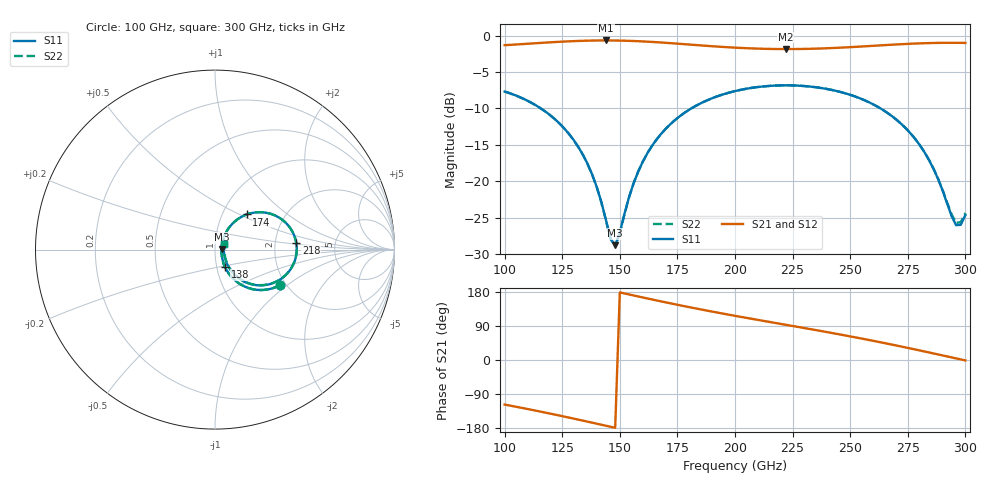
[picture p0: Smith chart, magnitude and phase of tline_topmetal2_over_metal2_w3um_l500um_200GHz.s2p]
#  GHZ S DB R 50
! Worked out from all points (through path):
!   101 points, 100 GHz to 300 GHz, reference 50 ohm
!   highest |S21| = -0.67 dB at 144 GHz (marker M1); lowest = -1.9 dB at 222 GHz (marker M2)
!   group delay of S21, straight-line fit = 3.32 ps
!   lowest |S11| = -28.8 dB at 148 GHz (marker M3), VSWR 1.08, Z = 53.8 + j0.267 ohm
!   |S11| at or under -10 dB: 115.7 GHz to 181 GHz (65.31 GHz wide, 44 % of centre); 263.1 GHz to end of sweep
!   |S22| runs from -28.9 to -6.8 dB; largest |S21 - S12| = 1.5e-13
!   S11 on the Smith chart (normalised r, x): 100 GHz: 1.86, -0.89; 138 GHz: 1.10, -0.21; 174 GHz: 1.30, +0.55; 218 GHz: 2.64, +0.25; 300 GHz: 1.10, +0.07
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100  -7.68 -28.6  -1.32 -117.6  -1.32 -117.6  -7.68 -28.6
120  -10.98 -49.1  -0.92 -141.8  -0.92 -141.8  -10.99 -49.2
134  -16.36 -60.1  -0.71 -160.0  -0.71 -160.0  -16.38 -60.2
138  -19.06 -60.0  -0.68 -165.4  -0.68 -165.4  -19.08 -60.2
144  -25.33 -44.8  -0.67 -173.5  -0.67 -173.5  -25.39 -45.1
146  -27.84 -26.1  -0.67 -176.2  -0.67 -176.2  -27.95 -26.3
148  -28.79 3.9  -0.68 -178.9  -0.68 -178.9  -28.91 4.1
158  -18.65 57.3  -0.77 167.7  -0.77 167.7  -18.65 57.6
168  -13.46 53.2  -0.95 154.6  -0.95 154.6  -13.47 53.3
174  -11.58 47.9  -1.08 147.0  -1.08 147.0  -11.58 48.0
186  -9.16 36.2  -1.37 132.5  -1.37 132.5  -9.16 36.3
200  -7.62 22.3  -1.65 116.6  -1.65 116.6  -7.62 22.4
218  -6.85 4.8  -1.84 97.2  -1.84 97.2  -6.86 4.9
222  -6.83 1.0  -1.85 93.0  -1.85 93.0  -6.83 1.1
234  -7.05 -10.6  -1.80 80.1  -1.80 80.1  -7.05 -10.5
252  -8.34 -28.2  -1.55 60.0  -1.55 60.0  -8.35 -28.0
268  -11.03 -43.5  -1.25 40.8  -1.25 40.8  -11.03 -43.2
276  -13.36 -49.9  -1.12 30.6  -1.12 30.6  -13.36 -49.5
284  -16.96 -52.7  -1.03 20.2  -1.03 20.2  -16.94 -52.0
296  -26.03 -9.1  -0.99 4.2  -0.99 4.2  -25.70 -8.3
298  -25.97 12.5  -1.00 1.5  -1.00 1.5  -25.61 12.4
300  -24.64 30.3  -1.01 -1.2  -1.01 -1.2  -24.35 29.4
